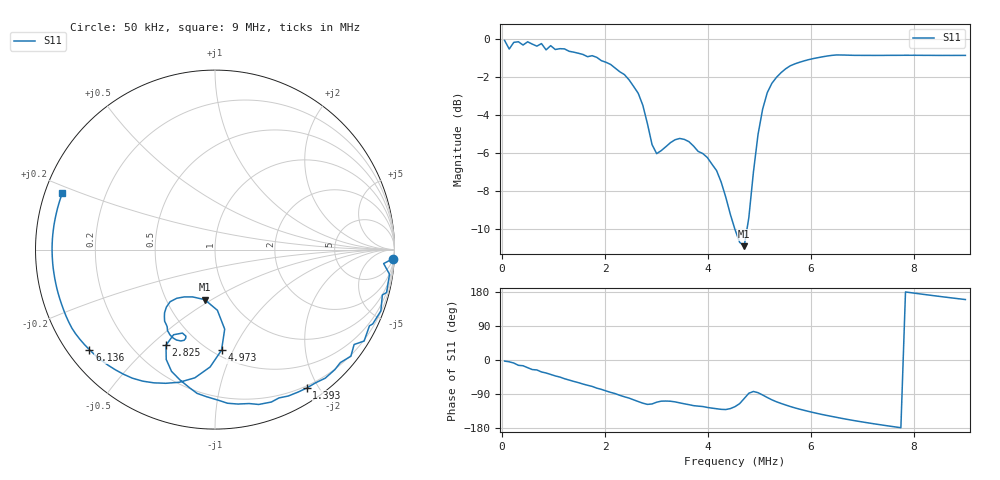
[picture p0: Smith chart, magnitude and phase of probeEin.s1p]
# Hz S RI R 50
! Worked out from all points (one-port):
!   101 points, 50 kHz to 9 MHz, reference 50 ohm
!   lowest |S11| = -10.9 dB at 4.704 MHz (marker M1), VSWR 1.80, Z = 38.4 - j23.3 ohm
!   |S11| at or under -10 dB: 4.52 MHz to 4.759 MHz (238.2 kHz wide, 5.14 % of centre)
!   S11 on the Smith chart (normalised r, x): 50 kHz: 5, -39; 1.393 MHz: 0.17, -1.85; 2.825 MHz: 0.34, -0.56; 4.973 MHz: 0.55, -0.90; 6.136 MHz: 0.06, -0.35; 9 MHz: 0.05, +0.18
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50000  0.992 -0.0504
139500  0.9396 -0.0779
229000  0.9724 -0.1373
318500  0.9559 -0.2392
408000  0.9325 -0.2525
497500  0.9242 -0.3415
766000  0.8307 -0.5097
1213500  0.6142 -0.7164
1392500  0.5111 -0.7712
1840000  0.2433 -0.8628
2287500  -0.0465 -0.8198
2645500  -0.2421 -0.6785
2824500  -0.273 -0.5327
2914000  -0.2308 -0.4743
3093000  -0.1621 -0.4822
3451000  -0.2149 -0.5037
4167000  -0.2811 -0.352
4525000  -0.1719 -0.2636
4704000  -0.0575 -0.2787
4883000  0.054 -0.4432
4972500  0.0364 -0.5601
5151500  -0.1123 -0.7144
5241000  -0.1989 -0.7392
5688500  -0.5111 -0.6937
6136000  -0.6993 -0.558
6762500  -0.8423 -0.3391
7926000  -0.9071 0.0329
9000000  -0.8497 0.3175
